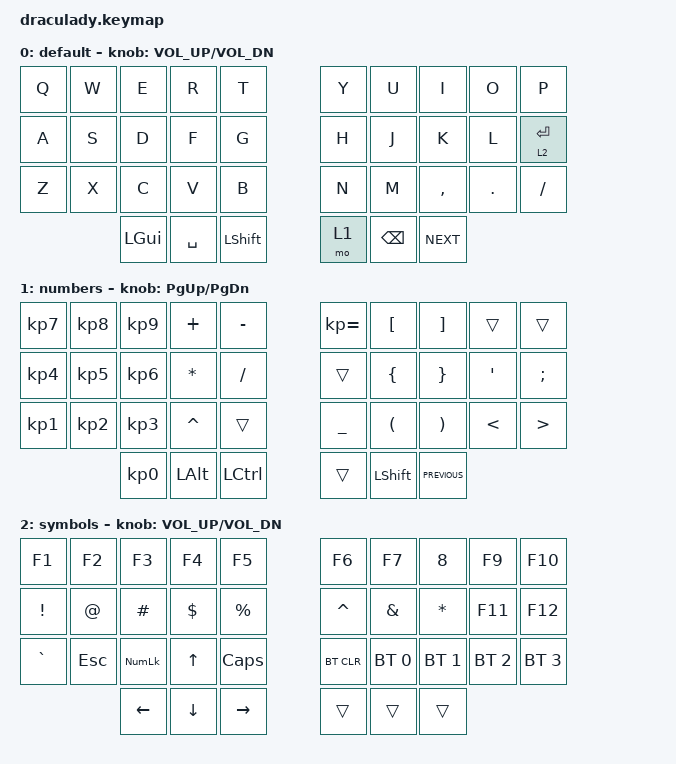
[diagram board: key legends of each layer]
/*
 * Copyright (c) 2020 @MangoIV
 *
 * SPDX-License-Identifier: MIT
 */

#include <behaviors.dtsi>
#include <dt-bindings/zmk/keys.h>
#include <dt-bindings/zmk/bt.h>
#include <dt-bindings/zmk/outputs.h>

/ {
    keymap {
        compatible = "zmk,keymap";

        default {
// --------------------------------------------------------------------------------------------------------------------------------------------------------------------
//  Q    |  W  |  E  |  R  |  T  | |  Y  |  U  |  I  |    O    |  P   |
//  A    |  S  |  D  |  F  |  G  | |  H  |  J  |  K  |    L    |  ;   |
// Lsft/Z|  X  |  C  |  V  |  B  | |  N  |  M  |  ,  |    .    |Rsft//|
//      | LCTL | Bspc/LMOD | SPC | | Del/Num | Ent | Sym |
           bindings = <
           &kp Q &kp W &kp E &kp R &kp T           &kp Y &kp U &kp I &kp O &kp P
            &kp A &kp S &kp D &kp F &kp G           &kp H &kp J &kp K &kp L &lt 2 ENTER
            &kp Z &kp X &kp C &kp V &kp B           &kp N &kp M &kp COMMA &kp DOT &kp FSLH
            &kp LGUI &kp SPACE &kp LSHFT            &mo 1 &kp BSPC &kp C_NEXT
            >;
            sensor-bindings = <&inc_dec_kp C_VOL_UP C_VOL_DN>;
        };
        numbers {
// --------------------------------------------------------------------------------------------------------------------------------------------------------------------
//  1  |    2   |  3     |  4  |  5  | |  6  |  7  |  8  |  9  |  0  |
// TAB | BT_PRV | BT_NXT | VOL-| VOL+| |  <  |  v  |  ∧  |  >  |  '  |
// Lsft| BT_SEL0| BT_CLR | MUTE|     | | HOME| END | PGUP| PGDN| Rsft|
//               | LCTL | LMOD| LALT | | Num |     | BL-reset |
           bindings = <
            &kp KP_N7 &kp KP_N8 &kp KP_N9 &kp PLUS &kp MINUS            &kp KP_EQUAL &kp LEFT_BRACKET &kp RIGHT_BRACKET &trans  &trans
            &kp KP_N4 &kp KP_N5 &kp KP_N6 &kp STAR &kp SLASH            &trans       &kp LEFT_BRACE   &kp RIGHT_BRACE   &kp SQT &kp SEMI
            &kp KP_N1 &kp KP_N2 &kp KP_N3 &kp CARET &trans              &kp UNDER    &kp LPAR         &kp RPAR          &kp LT &kp GT
                                &kp KP_N0 &kp LEFT_ALT &kp LCTRL        &trans       &kp LSHIFT       &kp C_PREVIOUS
            >;
            sensor-bindings = <&inc_dec_kp PG_UP PG_DN>;
        };
        symbols {
// --------------------------------------------------------------------------------------------------------------------------------------------------------------------
// ESC |  F1 |  F2 |  F3 |  F4 | | OUT_USB | OUT_BLE |        |  =  |  -   |
// CAPS|  F5 |  F6 |  F7 |  F8 | |    [    |    ]    |        |  `  |  \   |
// LSFT|  F9 | F10 | F11 | F12 | |         |         |        |     | RSFT |
//         | LCTL | LMOD| LALT | |  RESET  |         |   SYM  |
           bindings = <
            &kp F1    &kp F2  &kp F3     &kp F4   &kp F5                &kp F6     &kp F7       &kp 8        &kp F9       &kp F10
            &kp EXCL  &kp AT  &kp HASH   &kp DLLR &kp PRCNT             &kp CARET  &kp AMPS     &kp STAR     &kp F11      &kp F12
            &kp GRAVE &kp ESC &kp KP_NUM &kp UP   &kp CAPS              &bt BT_CLR &bt BT_SEL 0 &bt BT_SEL 1 &bt BT_SEL 2 &bt BT_SEL 3
                              &kp LEFT   &kp DOWN &kp RIGHT             &trans     &trans       &trans
           >;
           sensor-bindings = <&inc_dec_kp C_VOL_UP C_VOL_DN>;
        };
    };
};
